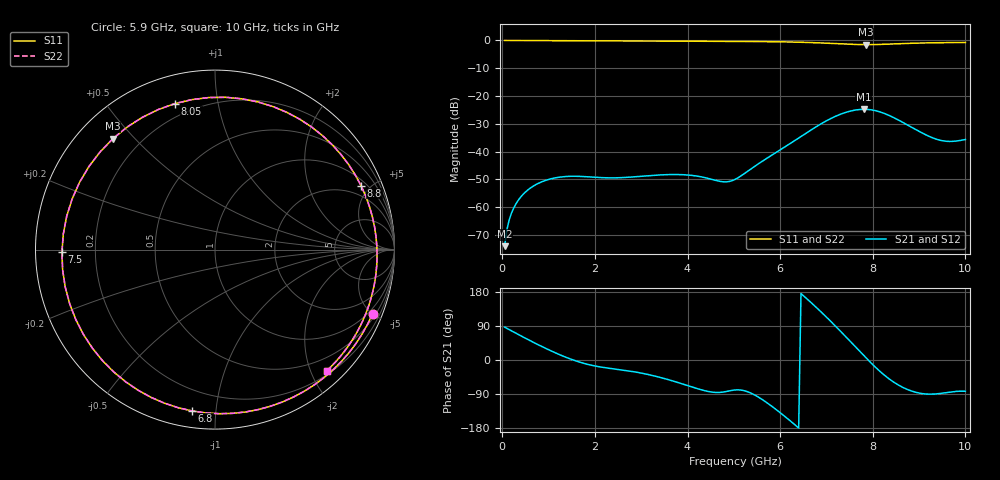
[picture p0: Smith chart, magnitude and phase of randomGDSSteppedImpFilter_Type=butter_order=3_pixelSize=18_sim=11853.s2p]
! freq	dB(S11)	phase(S11)	dB(S12)	phase(S12)
!  dB(S21)	phase(S21)	dB(S22)	phase(S22)
!S-par simulation data
#  GHz  S  DB  R 50
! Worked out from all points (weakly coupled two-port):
!   200 points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, 50 MHz to 10 GHz, reference 50 ohm
!   highest |S21| = -24.78 dB at 7.8 GHz (marker M1); lowest = -74.0 dB at 50 MHz (marker M2)
!   lowest |S11| = -1.5 dB at 7.85 GHz (marker M3), VSWR 11.49, Z = 5.18 + j21.7 ohm
!   |S11| at or under -10 dB: nowhere
!   |S22| runs from -1.5 to 0.0 dB; largest |S21 - S12| = 0
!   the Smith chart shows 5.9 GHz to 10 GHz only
!   S11 on the Smith chart (normalised r, x): 5.9 GHz: 0.71, -5.01; 6.8 GHz: 0.08, -0.86; 7.5 GHz: 0.08, -0.01; 8.05 GHz: 0.13, +0.75; 8.8 GHz: 1.31, +4.41; 10 GHz: 0.26, -2.26
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0.05  -0.00 -3.3  -74.03 86.7  -74.03 86.7  -0.00 -3.3
0.2  -0.01 -13.3  -62.07 76.8  -62.07 76.8  -0.01 -13.3
0.5  -0.04 -32.9  -54.55 57.4  -54.55 57.4  -0.04 -32.9
1.15  -0.09 -74.7  -49.43 18.8  -49.43 18.8  -0.09 -74.7
1.75  -0.13 -111.8  -48.97 -8.5  -48.97 -8.5  -0.13 -111.8
2.6  -0.19 -162.9  -49.35 -26.5  -49.35 -26.5  -0.19 -162.8
3.4  -0.23 148.4  -48.40 -45.7  -48.40 -45.7  -0.23 148.5
4.25  -0.29 93.9  -48.94 -77.0  -48.94 -77.0  -0.29 94.0
5.05  -0.34 39.3  -49.80 -78.9  -49.80 -78.9  -0.35 39.4
5.5  -0.39 7.3  -44.72 -95.7  -44.72 -95.7  -0.40 7.4
5.9  -0.47 -22.2  -40.45 -129.5  -40.45 -129.5  -0.47 -22.1
6.7  -0.78 -88.5  -31.86 148.0  -31.86 148.0  -0.78 -88.6
6.8  -0.84 -98.1  -30.83 136.6  -30.83 136.6  -0.84 -98.2
7.15  -1.10 -135.3  -27.65 94.9  -27.65 94.9  -1.10 -135.4
7.5  -1.38 -179.0  -25.48 51.0  -25.48 51.0  -1.38 -179.2
7.8  -1.51 139.6  -24.78 12.6  -24.78 12.6  -1.51 139.4
7.85  -1.52 132.6  -24.79 6.2  -24.79 6.2  -1.51 132.5
8.05  -1.48 105.3  -25.23 -18.1  -25.23 -18.1  -1.48 105.2
8.35  -1.31 68.0  -26.97 -49.6  -26.97 -49.6  -1.31 68.0
8.8  -1.03 23.7  -30.88 -80.3  -30.88 -80.3  -1.03 23.7
9.3  -0.83 -12.0  -35.10 -90.0  -35.10 -90.0  -0.83 -11.9
10  -0.74 -47.3  -35.63 -82.5  -35.63 -82.5  -0.74 -47.2
